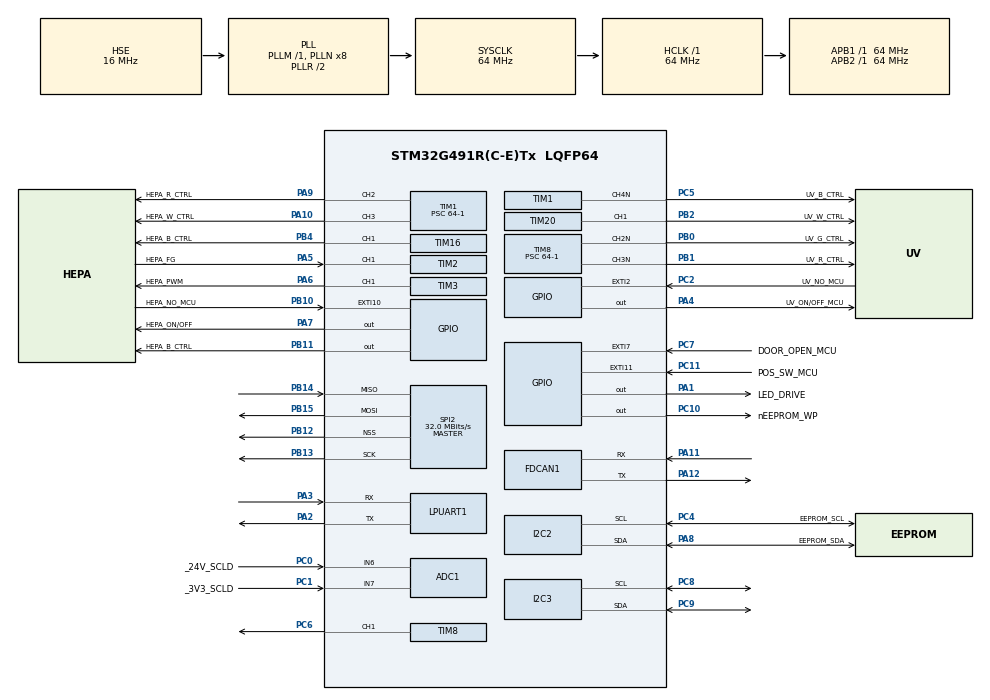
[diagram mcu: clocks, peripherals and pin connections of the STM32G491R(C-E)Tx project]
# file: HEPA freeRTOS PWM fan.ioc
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ADC1.Channel-0\#ChannelRegularConversion=ADC_CHANNEL_6
ADC1.NbrOfConversionFlag=1
ADC1.OffsetNumber-0\#ChannelRegularConversion=ADC_OFFSET_NONE
ADC1.Rank-0\#ChannelRegularConversion=1
ADC1.SamplingTime-0\#ChannelRegularConversion=ADC_SAMPLETIME_2CYCLES_5
ADC1.SingleDiff-0\#ChannelRegularConversion=ADC_DIFFERENTIAL_ENDED
ADC1.master=1
FDCAN1.CalculateBaudRateNominal=800000
FDCAN1.CalculateTimeBitNominal=1250
FDCAN1.CalculateTimeQuantumNominal=250.0
FREERTOS.Tasks01=Blink01,0,128,StartDefaultTask,Default,NULL,Dynamic,NULL,NULL;Blink02,-1,128,StartTask02,Default,NULL,Dynamic,NULL,NULL;UVInterval,0,128,StartUVIntervalTask,Default,NULL,Dynamic,NULL,NULL;HEPAfan,0,128,StartHEPAfanTask,Default,NULL,Dynamic,NULL,NULL
FREERTOS.configTOTAL_HEAP_SIZE=10000
FREERTOS.configUSE_NEWLIB_REENTRANT=1
I2C2.Timing=0x10707DBC
I2C3.Timing=0x10707DBC
Mcu.Family=STM32G4
Mcu.Name=STM32G491R(C-E)Tx
Mcu.Package=LQFP64
NVIC.EXTI15_10_IRQn=true\:5\:0\:false\:false\:true\:true\:true\:true\:true
NVIC.EXTI2_IRQn=true\:5\:0\:false\:false\:true\:true\:true\:true\:true
NVIC.EXTI9_5_IRQn=true\:5\:0\:false\:false\:true\:true\:true\:true\:true
NVIC.PriorityGroup=NVIC_PRIORITYGROUP_4
NVIC.TIM6_DAC_IRQn=true\:15\:0\:false\:false\:true\:false\:false\:true\:true
NVIC.TimeBase=TIM6_DAC_IRQn
NVIC.TimeBaseIP=TIM6
PA1.GPIO_Label=LED_DRIVE
PA1.Signal=GPIO_Output
PA10.GPIO_Label=HEPA_W_CTRL
PA10.Signal=S_TIM1_CH3
PA11.Mode=FDCAN_Activate
PA11.Signal=FDCAN1_RX
PA12.Mode=FDCAN_Activate
PA12.Signal=FDCAN1_TX
PA13.Signal=SYS_JTMS-SWDIO
PA14.Signal=SYS_JTCK-SWCLK
PA15.Signal=SYS_JTDI
PA2.Mode=Asynchronous
PA2.Signal=LPUART1_TX
PA3.Mode=Asynchronous
PA3.Signal=LPUART1_RX
PA4.GPIO_Label=UV_ON/OFF_MCU
PA4.Signal=GPIO_Output
PA5.GPIO_Label=HEPA_FG
PA5.Signal=S_TIM2_CH1
PA6.GPIO_Label=HEPA_PWM
PA6.Signal=S_TIM3_CH1
PA7.GPIO_Label=HEPA_ON/OFF
PA7.Signal=GPIO_Output
PA8.GPIO_Label=EEPROM_SDA
PA8.Mode=I2C
PA8.Signal=I2C2_SDA
PA9.GPIO_Label=HEPA_R_CTRL
PA9.Signal=S_TIM1_CH2
PB0.GPIO_Label=UV_G_CTRL
PB0.Mode=PWM Generation2 CH2N
PB0.Signal=TIM8_CH2N
PB1.GPIO_Label=UV_R_CTRL
PB1.Mode=PWM Generation3 CH3N
PB1.Signal=TIM8_CH3N
PB10.GPIO_Label=HEPA_NO_MCU
PB10.Signal=GPXTI10
PB11.GPIO_Label=HEPA_B_CTRL
PB11.Signal=GPIO_Output
PB12.Mode=NSS_Signal_Hard_Output
PB12.Signal=SPI2_NSS
PB13.Mode=Full_Duplex_Master
PB13.Signal=SPI2_SCK
PB14.Mode=Full_Duplex_Master
PB14.Signal=SPI2_MISO
PB15.Mode=Full_Duplex_Master
PB15.Signal=SPI2_MOSI
PB2.GPIO_Label=UV_W_CTRL
PB2.Mode=PWM Generation1 CH1
PB2.Signal=TIM20_CH1
PB3.Signal=SYS_JTDO-SWO
PB4.GPIO_Label=HEPA_B_CTRL
PB4.Signal=S_TIM16_CH1
PC0.GPIO_Label=_24V_SCLD
PC0.Mode=IN6-Differential
PC0.Signal=ADC1_IN6
PC1.GPIO_Label=_3V3_SCLD
PC1.Mode=IN6-Differential
PC1.Signal=ADC1_IN7
PC10.GPIO_Label=nEEPROM_WP
PC10.Signal=GPIO_Output
PC11.GPIO_Label=POS_SW_MCU
PC11.GPIO_ModeDefaultEXTI=GPIO_MODE_IT_RISING
PC11.Signal=GPXTI11
PC2.GPIO_Label=UV_NO_MCU
PC2.Signal=GPXTI2
PC4.GPIO_Label=EEPROM_SCL
PC4.Mode=I2C
PC4.Signal=I2C2_SCL
PC5.GPIO_Label=UV_B_CTRL
PC5.Mode=PWM Generation4 CH4N
PC5.Signal=TIM1_CH4N
PC6.Signal=S_TIM8_CH1
PC7.GPIO_Label=DOOR_OPEN_MCU
PC7.Signal=GPXTI7
PC8.Mode=I2C
PC8.Signal=I2C3_SCL
PC9.Mode=I2C
PC9.Signal=I2C3_SDA
PF0-OSC_IN.Mode=HSE-External-Oscillator
PF0-OSC_IN.Signal=RCC_OSC_IN
PF1-OSC_OUT.Mode=HSE-External-Oscillator
PF1-OSC_OUT.Signal=RCC_OSC_OUT
ProjectManager.HeapSize=0x200
ProjectManager.StackSize=0x400
ProjectManager.TargetToolchain=STM32CubeIDE
RCC.ADC12Freq_Value=64000000
RCC.ADC345Freq_Value=64000000
RCC.AHBFreq_Value=64000000
RCC.APB1Freq_Value=64000000
RCC.APB1TimFreq_Value=64000000
RCC.APB2Freq_Value=64000000
RCC.APB2TimFreq_Value=64000000
RCC.CortexFreq_Value=64000000
RCC.EXTERNAL_CLOCK_VALUE=12288000
RCC.HCLKFreq_Value=64000000
RCC.HSE_VALUE=16000000
RCC.HSI48_VALUE=48000000
RCC.HSI_VALUE=16000000
RCC.LSE_VALUE=32768
RCC.PLLSourceVirtual=RCC_PLLSOURCE_HSE
RCC.SYSCLKFreq_VALUE=64000000
RCC.SYSCLKSource=RCC_SYSCLKSOURCE_PLLCLK
RCC.USBFreq_Value=48000000
RCC.VCOOutputFreq_Value=128000000
SH.S_TIM16_CH1.0=TIM16_CH1,PWM Generation1 CH1
SH.S_TIM1_CH2.0=TIM1_CH2,PWM Generation2 CH2
SH.S_TIM1_CH3.0=TIM1_CH3,PWM Generation3 CH3
SH.S_TIM2_CH1.0=TIM2_CH1,Input_Capture1_from_TI1
SH.S_TIM3_CH1.0=TIM3_CH1,PWM Generation1 CH1
SH.S_TIM8_CH1.0=TIM8_CH1,PWM Generation1 CH1
SPI2.BaudRatePrescaler=SPI_BAUDRATEPRESCALER_2
SPI2.CalculateBaudRate=32.0 MBits/s
SPI2.Direction=SPI_DIRECTION_2LINES
SPI2.Mode=SPI_MODE_MASTER
SPI2.VirtualNSS=VM_NSSHARD
SPI2.VirtualType=VM_MASTER
TIM1.Channel-PWM\ Generation2\ CH2=TIM_CHANNEL_2
TIM1.Channel-PWM\ Generation3\ CH3=TIM_CHANNEL_3
TIM1.Channel-PWM\ Generation4\ CH4N=TIM_CHANNEL_4
TIM1.PeriodNoDither=40-1
TIM1.Prescaler=64-1
TIM16.Channel=TIM_CHANNEL_1
TIM16.PeriodNoDither=40-1
TIM16.Prescaler=64-1
TIM2.Channel-Input_Capture1_from_TI1=TIM_CHANNEL_1
TIM20.Channel-PWM\ Generation1\ CH1=TIM_CHANNEL_1
TIM20.PeriodNoDither=40-1
TIM20.Prescaler=64-1
TIM3.Channel-PWM\ Generation1\ CH1=TIM_CHANNEL_1
TIM8.Channel-PWM\ Generation1\ CH1=TIM_CHANNEL_1
TIM8.Channel-PWM\ Generation2\ CH2N=TIM_CHANNEL_2
TIM8.Channel-PWM\ Generation3\ CH3N=TIM_CHANNEL_3
TIM8.PeriodNoDither=40-1
TIM8.Prescaler=64-1
VP_FREERTOS_VS_CMSIS_V1.Mode=CMSIS_V1
VP_SYS_VS_DBSignals.Mode=DisableDeadBatterySignals
VP_SYS_VS_tim6.Mode=TIM6
VP_TIM16_VS_ClockSourceINT.Mode=Enable_Timer
VP_TIM2_VS_ClockSourceINT.Mode=Internal
VP_TIM3_VS_ClockSourceINT.Mode=Internal
board=custom

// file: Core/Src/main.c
/* USER CODE BEGIN Header */
/**
  ******************************************************************************
  * @file           : main.c
  * @brief          : Main program body
  ******************************************************************************
  * @attention
  *
  * Copyright (c) 2023 STMicroelectronics.
  * All rights reserved.
  *
  * This software is licensed under terms that can be found in the LICENSE file
  * in the root directory of this software component.
  * If no LICENSE file comes with this software, it is provided AS-IS.
  *
  ******************************************************************************
  */
/* USER CODE END Header */
#include "main.h"
#include "cmsis_os.h"
#include "can.h"
#include "EEPROM.h"
#include <math.h>
#include <string.h>
#include <stdio.h>
#include "enums.h"

ADC_HandleTypeDef hadc1;

FDCAN_HandleTypeDef hfdcan1;

I2C_HandleTypeDef hi2c2;
I2C_HandleTypeDef hi2c3;

UART_HandleTypeDef hlpuart1;

SPI_HandleTypeDef hspi2;

TIM_HandleTypeDef htim1;
TIM_HandleTypeDef htim2;
TIM_HandleTypeDef htim3;
TIM_HandleTypeDef htim8;
TIM_HandleTypeDef htim16;
TIM_HandleTypeDef htim20;

osThreadId Blink01Handle;
osThreadId CANHandle;
osThreadId UVIntervalHandle;
osThreadId HEPAfanHandle;

void SystemClock_Config(void);
static void MX_GPIO_Init(void);
static void MX_ADC1_Init(void);
static void MX_FDCAN1_Init(void);
static void MX_I2C2_Init(void);
static void MX_I2C3_Init(void);
static void MX_LPUART1_UART_Init(void);
static void MX_SPI2_Init(void);
static void MX_TIM2_Init(void);
static void MX_TIM3_Init(void);
static void MX_TIM1_Init(void);
static void MX_TIM8_Init(void);
static void MX_TIM16_Init(void);
static void MX_TIM20_Init(void);
void StartDefaultTask(void const * argument);
void StartCANTask(void const * argument);
void StartUVIntervalTask(void const * argument);
void StartHEPAfanTask(void const * argument);

/* USER CODE BEGIN PFP */
void door_open();
void reed_sw_open();

void UV_OFF();
void UV_ON();
void UV_idle_state_LED();
void UV_error_LED();
void UV_running_LED();
void UV_pulse();
void UV_all_LEDs_off();
void UV_confirmation_LED();

void HEPA_ON();
void HEPA_OFF();
void HEPA_run_LED();
void HEPA_idle_LED();
void HEPA_all_LEDs_off();

/* USER CODE END PFP */

/* USER CODE BEGIN 0 */
/* CAN Configuration */
uint8_t debug_str[32];
uint8_t RxData[8];
uint8_t TxData[8];
FDCAN_RxHeaderTypeDef RxHeader;
FDCAN_TxHeaderTypeDef TxHeader;
uint32_t EEPROM_CAN_Msg;

/* The tasks to be created. */
static void vHandlerTask( void *pvParameters );

/* Stores the handle of the task to which interrupt processing is deferred. */
static TaskHandle_t xTaskHandler = NULL;

/* USER CODE END 0 */

int main(void)
{

  /* MCU Configuration--------------------------------------------------------*/

  /* Reset of all peripherals, Initializes the Flash interface and the Systick. */
  HAL_Init();

  /* Configure the system clock */
  SystemClock_Config();

  /* Initialize all configured peripherals */
  MX_GPIO_Init();
  MX_ADC1_Init();
  MX_FDCAN1_Init();
  MX_I2C2_Init();
  MX_I2C3_Init();
  MX_LPUART1_UART_Init();
  MX_SPI2_Init();
  MX_TIM2_Init();
  MX_TIM3_Init();
  MX_TIM1_Init();
  MX_TIM8_Init();
  MX_TIM16_Init();
  MX_TIM20_Init();

  /* Create the thread(s) */
  /* definition and creation of Blink01 */
  osThreadDef(Blink01, StartDefaultTask, osPriorityNormal, 0, 128);
  Blink01Handle = osThreadCreate(osThread(Blink01), NULL);

  /* definition and creation of Blink02 */
  osThreadDef(CAN, StartCANTask, osPriorityNormal, 0, 128);
  CANHandle = osThreadCreate(osThread(CAN), NULL);

  /* definition and creation of UVInterval */
  osThreadDef(UVInterval, StartUVIntervalTask, osPriorityNormal, 0, 128);
  UVIntervalHandle = osThreadCreate(osThread(UVInterval), NULL);

  /* definition and creation of HEPAfan */
  osThreadDef(HEPAfan, StartHEPAfanTask, osPriorityNormal, 0, 128);
  HEPAfanHandle = osThreadCreate(osThread(HEPAfan), NULL);

  /* USER CODE BEGIN RTOS_THREADS */
  /* add threads, ... */
  /* Create the thread(s) */
  /* definition and creation of Blink01 */

  /* USER CODE END RTOS_THREADS */

  /* Start scheduler */
  osKernelStart();

  /* We should never get here as control is now taken by the scheduler */
  /* Infinite loop */
  while (1)
  {

  }
}

void SystemClock_Config(void)
{
  RCC_OscInitTypeDef RCC_OscInitStruct = {0};
  RCC_ClkInitTypeDef RCC_ClkInitStruct = {0};

  /** Configure the main internal regulator output voltage
  */
  HAL_PWREx_ControlVoltageScaling(PWR_REGULATOR_VOLTAGE_SCALE1);

  /** Initializes the RCC Oscillators according to the specified parameters
  * in the RCC_OscInitTypeDef structure.
  */
  RCC_OscInitStruct.OscillatorType = RCC_OSCILLATORTYPE_HSE;
  RCC_OscInitStruct.HSEState = RCC_HSE_ON;
  RCC_OscInitStruct.PLL.PLLState = RCC_PLL_ON;
  RCC_OscInitStruct.PLL.PLLSource = RCC_PLLSOURCE_HSE;
  RCC_OscInitStruct.PLL.PLLM = RCC_PLLM_DIV1;
  RCC_OscInitStruct.PLL.PLLN = 8;
  RCC_OscInitStruct.PLL.PLLP = RCC_PLLP_DIV2;
  RCC_OscInitStruct.PLL.PLLQ = RCC_PLLQ_DIV2;
  RCC_OscInitStruct.PLL.PLLR = RCC_PLLR_DIV2;
  if (HAL_RCC_OscConfig(&RCC_OscInitStruct) != HAL_OK)
  {
    Error_Handler();
  }

  /** Initializes the CPU, AHB and APB buses clocks
  */
  RCC_ClkInitStruct.ClockType = RCC_CLOCKTYPE_HCLK|RCC_CLOCKTYPE_SYSCLK
                              |RCC_CLOCKTYPE_PCLK1|RCC_CLOCKTYPE_PCLK2;
  RCC_ClkInitStruct.SYSCLKSource = RCC_SYSCLKSOURCE_PLLCLK;
  RCC_ClkInitStruct.AHBCLKDivider = RCC_SYSCLK_DIV1;
  RCC_ClkInitStruct.APB1CLKDivider = RCC_HCLK_DIV1;
  RCC_ClkInitStruct.APB2CLKDivider = RCC_HCLK_DIV1;

  if (HAL_RCC_ClockConfig(&RCC_ClkInitStruct, FLASH_LATENCY_2) != HAL_OK)
  {
    Error_Handler();
  }
}

static void MX_ADC1_Init(void)
{

  ADC_MultiModeTypeDef multimode = {0};
  ADC_ChannelConfTypeDef sConfig = {0};

  /** Common config
  */
  hadc1.Instance = ADC1;
  hadc1.Init.ClockPrescaler = ADC_CLOCK_SYNC_PCLK_DIV2;
  hadc1.Init.Resolution = ADC_RESOLUTION_12B;
  hadc1.Init.DataAlign = ADC_DATAALIGN_RIGHT;
  hadc1.Init.GainCompensation = 0;
  hadc1.Init.ScanConvMode = ADC_SCAN_DISABLE;
  hadc1.Init.EOCSelection = ADC_EOC_SINGLE_CONV;
  hadc1.Init.LowPowerAutoWait = DISABLE;
  hadc1.Init.ContinuousConvMode = DISABLE;
  hadc1.Init.NbrOfConversion = 1;
  hadc1.Init.DiscontinuousConvMode = DISABLE;
  hadc1.Init.ExternalTrigConv = ADC_SOFTWARE_START;
  hadc1.Init.ExternalTrigConvEdge = ADC_EXTERNALTRIGCONVEDGE_NONE;
  hadc1.Init.DMAContinuousRequests = DISABLE;
  hadc1.Init.Overrun = ADC_OVR_DATA_PRESERVED;
  hadc1.Init.OversamplingMode = DISABLE;
  if (HAL_ADC_Init(&hadc1) != HAL_OK)
  {
    Error_Handler();
  }

  /** Configure the ADC multi-mode
  */
  multimode.Mode = ADC_MODE_INDEPENDENT;
  if (HAL_ADCEx_MultiModeConfigChannel(&hadc1, &multimode) != HAL_OK)
  {
    Error_Handler();
  }

  /** Configure Regular Channel
  */
  sConfig.Channel = ADC_CHANNEL_6;
  sConfig.Rank = ADC_REGULAR_RANK_1;
  sConfig.SamplingTime = ADC_SAMPLETIME_2CYCLES_5;
  sConfig.SingleDiff = ADC_DIFFERENTIAL_ENDED;
  sConfig.OffsetNumber = ADC_OFFSET_NONE;
  sConfig.Offset = 0;
  if (HAL_ADC_ConfigChannel(&hadc1, &sConfig) != HAL_OK)
  {
    Error_Handler();
  }

}

static void MX_FDCAN1_Init(void)
{

  /* USER CODE BEGIN FDCAN1_Init 0 */
  /* AUX1 ID */
  TxHeader.Identifier = 0x23;
  TxHeader.IdType = FDCAN_EXTENDED_ID;
  TxHeader.TxFrameType = FDCAN_DATA_FRAME;
  TxHeader.DataLength = FDCAN_DLC_BYTES_8;
  TxHeader.ErrorStateIndicator = FDCAN_ESI_ACTIVE;
  TxHeader.BitRateSwitch = FDCAN_BRS_OFF;
  TxHeader.FDFormat = FDCAN_FD_CAN; // FDCAN_CLASSIC_CAN;
  TxHeader.TxEventFifoControl = FDCAN_NO_TX_EVENTS;
  TxHeader.MessageMarker = 0;

  /* AUX1 ID */
  RxHeader.Identifier = 0x23;
  RxHeader.IdType = FDCAN_EXTENDED_ID;
  RxHeader.RxFrameType = FDCAN_DATA_FRAME;
  RxHeader.DataLength = FDCAN_DLC_BYTES_8;
  RxHeader.ErrorStateIndicator = FDCAN_ESI_ACTIVE;
  RxHeader.BitRateSwitch = FDCAN_BRS_OFF;
  RxHeader.FDFormat = FDCAN_FD_CAN; // FDCAN_CLASSIC_CAN;
  /* USER CODE END FDCAN1_Init 0 */

  hfdcan1.Instance = FDCAN1;
  hfdcan1.Init.ClockDivider = FDCAN_CLOCK_DIV1;
  hfdcan1.Init.FrameFormat = FDCAN_FRAME_CLASSIC;
  hfdcan1.Init.Mode = FDCAN_MODE_NORMAL;
  hfdcan1.Init.AutoRetransmission = DISABLE;
  hfdcan1.Init.TransmitPause = DISABLE;
  hfdcan1.Init.ProtocolException = DISABLE;
  hfdcan1.Init.NominalPrescaler = 1;
  hfdcan1.Init.NominalSyncJumpWidth = 1;
  hfdcan1.Init.NominalTimeSeg1 = 110;
  hfdcan1.Init.NominalTimeSeg2 = 17;
  hfdcan1.Init.DataPrescaler = 1;
  hfdcan1.Init.DataSyncJumpWidth = 1;
  hfdcan1.Init.DataTimeSeg1 = 32;
  hfdcan1.Init.DataTimeSeg2 = 1;
  hfdcan1.Init.StdFiltersNbr = 0;
  hfdcan1.Init.ExtFiltersNbr = 0;
  hfdcan1.Init.TxFifoQueueMode = FDCAN_TX_FIFO_OPERATION;
  if (HAL_FDCAN_Init(&hfdcan1) != HAL_OK)
  {
    Error_Handler();
  }
  /* USER CODE BEGIN FDCAN1_Init 2 */
    if (HAL_FDCAN_Start(&hfdcan1) != HAL_OK)
  	{
  		Error_Handler();
  	}

  /* USER CODE END FDCAN1_Init 2 */

}

static void MX_I2C2_Init(void)
{

  hi2c2.Instance = I2C2;
  hi2c2.Init.Timing = 0x00602173;
  hi2c2.Init.OwnAddress1 = 0;
  hi2c2.Init.AddressingMode = I2C_ADDRESSINGMODE_7BIT;
  hi2c2.Init.DualAddressMode = I2C_DUALADDRESS_DISABLE;
  hi2c2.Init.OwnAddress2 = 0;
  hi2c2.Init.OwnAddress2Masks = I2C_OA2_NOMASK;
  hi2c2.Init.GeneralCallMode = I2C_GENERALCALL_DISABLE;
  hi2c2.Init.NoStretchMode = I2C_NOSTRETCH_DISABLE;
  if (HAL_I2C_Init(&hi2c2) != HAL_OK)
  {
    Error_Handler();
  }

  /** Configure Analogue filter
  */
  if (HAL_I2CEx_ConfigAnalogFilter(&hi2c2, I2C_ANALOGFILTER_ENABLE) != HAL_OK)
  {
    Error_Handler();
  }

  /** Configure Digital filter
  */
  if (HAL_I2CEx_ConfigDigitalFilter(&hi2c2, 0) != HAL_OK)
  {
    Error_Handler();
  }

}

static void MX_I2C3_Init(void)
{

  hi2c3.Instance = I2C3;
  hi2c3.Init.Timing = 0x10707DBC;
  hi2c3.Init.OwnAddress1 = 0;
  hi2c3.Init.AddressingMode = I2C_ADDRESSINGMODE_7BIT;
  hi2c3.Init.DualAddressMode = I2C_DUALADDRESS_DISABLE;
  hi2c3.Init.OwnAddress2 = 0;
  hi2c3.Init.OwnAddress2Masks = I2C_OA2_NOMASK;
  hi2c3.Init.GeneralCallMode = I2C_GENERALCALL_DISABLE;
  hi2c3.Init.NoStretchMode = I2C_NOSTRETCH_DISABLE;
  if (HAL_I2C_Init(&hi2c3) != HAL_OK)
  {
    Error_Handler();
  }

  /** Configure Analogue filter
  */
  if (HAL_I2CEx_ConfigAnalogFilter(&hi2c3, I2C_ANALOGFILTER_ENABLE) != HAL_OK)
  {
    Error_Handler();
  }

  /** Configure Digital filter
  */
  if (HAL_I2CEx_ConfigDigitalFilter(&hi2c3, 0) != HAL_OK)
  {
    Error_Handler();
  }

}

static void MX_LPUART1_UART_Init(void)
{

  hlpuart1.Instance = LPUART1;
  hlpuart1.Init.BaudRate = 209700;
  hlpuart1.Init.WordLength = UART_WORDLENGTH_8B;
  hlpuart1.Init.StopBits = UART_STOPBITS_1;
  hlpuart1.Init.Parity = UART_PARITY_NONE;
  hlpuart1.Init.Mode = UART_MODE_TX_RX;
  hlpuart1.Init.HwFlowCtl = UART_HWCONTROL_NONE;
  hlpuart1.Init.OneBitSampling = UART_ONE_BIT_SAMPLE_DISABLE;
  hlpuart1.Init.ClockPrescaler = UART_PRESCALER_DIV1;
  hlpuart1.AdvancedInit.AdvFeatureInit = UART_ADVFEATURE_NO_INIT;
  if (HAL_UART_Init(&hlpuart1) != HAL_OK)
  {
    Error_Handler();
  }
  if (HAL_UARTEx_SetTxFifoThreshold(&hlpuart1, UART_TXFIFO_THRESHOLD_1_8) != HAL_OK)
  {
    Error_Handler();
  }
  if (HAL_UARTEx_SetRxFifoThreshold(&hlpuart1, UART_RXFIFO_THRESHOLD_1_8) != HAL_OK)
  {
    Error_Handler();
  }
  if (HAL_UARTEx_DisableFifoMode(&hlpuart1) != HAL_OK)
  {
    Error_Handler();
  }

}

static void MX_SPI2_Init(void)
{

  /* SPI2 parameter configuration*/
  hspi2.Instance = SPI2;
  hspi2.Init.Mode = SPI_MODE_MASTER;
  hspi2.Init.Direction = SPI_DIRECTION_2LINES;
  hspi2.Init.DataSize = SPI_DATASIZE_8BIT;
  hspi2.Init.CLKPolarity = SPI_POLARITY_LOW;
  hspi2.Init.CLKPhase = SPI_PHASE_1EDGE;
  hspi2.Init.NSS = SPI_NSS_HARD_OUTPUT;
  hspi2.Init.BaudRatePrescaler = SPI_BAUDRATEPRESCALER_2;
  hspi2.Init.FirstBit = SPI_FIRSTBIT_MSB;
  hspi2.Init.TIMode = SPI_TIMODE_DISABLE;
  hspi2.Init.CRCCalculation = SPI_CRCCALCULATION_DISABLE;
  hspi2.Init.CRCPolynomial = 7;
  hspi2.Init.CRCLength = SPI_CRC_LENGTH_DATASIZE;
  hspi2.Init.NSSPMode = SPI_NSS_PULSE_ENABLE;
  if (HAL_SPI_Init(&hspi2) != HAL_OK)
  {
    Error_Handler();
  }

}

static void MX_TIM1_Init(void)
{

  TIM_MasterConfigTypeDef sMasterConfig = {0};
  TIM_OC_InitTypeDef sConfigOC = {0};
  TIM_BreakDeadTimeConfigTypeDef sBreakDeadTimeConfig = {0};

  htim1.Instance = TIM1;
  htim1.Init.Prescaler = 64-1;
  htim1.Init.CounterMode = TIM_COUNTERMODE_UP;
  htim1.Init.Period = 39;
  htim1.Init.ClockDivision = TIM_CLOCKDIVISION_DIV1;
  htim1.Init.RepetitionCounter = 0;
  htim1.Init.AutoReloadPreload = TIM_AUTORELOAD_PRELOAD_DISABLE;
  if (HAL_TIM_PWM_Init(&htim1) != HAL_OK)
  {
    Error_Handler();
  }
  sMasterConfig.MasterOutputTrigger = TIM_TRGO_RESET;
  sMasterConfig.MasterOutputTrigger2 = TIM_TRGO2_RESET;
  sMasterConfig.MasterSlaveMode = TIM_MASTERSLAVEMODE_DISABLE;
  if (HAL_TIMEx_MasterConfigSynchronization(&htim1, &sMasterConfig) != HAL_OK)
  {
    Error_Handler();
  }
  sConfigOC.OCMode = TIM_OCMODE_PWM1;
  sConfigOC.Pulse = 0;
  sConfigOC.OCPolarity = TIM_OCPOLARITY_HIGH;
  sConfigOC.OCNPolarity = TIM_OCNPOLARITY_HIGH;
  sConfigOC.OCFastMode = TIM_OCFAST_DISABLE;
  sConfigOC.OCIdleState = TIM_OCIDLESTATE_RESET;
  sConfigOC.OCNIdleState = TIM_OCNIDLESTATE_RESET;
  if (HAL_TIM_PWM_ConfigChannel(&htim1, &sConfigOC, TIM_CHANNEL_2) != HAL_OK)
  {
    Error_Handler();
  }
  if (HAL_TIM_PWM_ConfigChannel(&htim1, &sConfigOC, TIM_CHANNEL_3) != HAL_OK)
  {
    Error_Handler();
  }
  if (HAL_TIM_PWM_ConfigChannel(&htim1, &sConfigOC, TIM_CHANNEL_4) != HAL_OK)
  {
    Error_Handler();
  }
  sBreakDeadTimeConfig.OffStateRunMode = TIM_OSSR_DISABLE;
  sBreakDeadTimeConfig.OffStateIDLEMode = TIM_OSSI_DISABLE;
  sBreakDeadTimeConfig.LockLevel = TIM_LOCKLEVEL_OFF;
  sBreakDeadTimeConfig.DeadTime = 0;
  sBreakDeadTimeConfig.BreakState = TIM_BREAK_DISABLE;
  sBreakDeadTimeConfig.BreakPolarity = TIM_BREAKPOLARITY_HIGH;
  sBreakDeadTimeConfig.BreakFilter = 0;
  sBreakDeadTimeConfig.BreakAFMode = TIM_BREAK_AFMODE_INPUT;
  sBreakDeadTimeConfig.Break2State = TIM_BREAK2_DISABLE;
  sBreakDeadTimeConfig.Break2Polarity = TIM_BREAK2POLARITY_HIGH;
  sBreakDeadTimeConfig.Break2Filter = 0;
  sBreakDeadTimeConfig.Break2AFMode = TIM_BREAK_AFMODE_INPUT;
  sBreakDeadTimeConfig.AutomaticOutput = TIM_AUTOMATICOUTPUT_DISABLE;
  if (HAL_TIMEx_ConfigBreakDeadTime(&htim1, &sBreakDeadTimeConfig) != HAL_OK)
  {
    Error_Handler();
  }
  HAL_TIM_MspPostInit(&htim1);

}

static void MX_TIM2_Init(void)
{

  TIM_ClockConfigTypeDef sClockSourceConfig = {0};
  TIM_MasterConfigTypeDef sMasterConfig = {0};
  TIM_IC_InitTypeDef sConfigIC = {0};

  htim2.Instance = TIM2;
  htim2.Init.Prescaler = 0;
  htim2.Init.CounterMode = TIM_COUNTERMODE_UP;
  htim2.Init.Period = 4.294967295E9;
  htim2.Init.ClockDivision = TIM_CLOCKDIVISION_DIV1;
  htim2.Init.AutoReloadPreload = TIM_AUTORELOAD_PRELOAD_DISABLE;
  if (HAL_TIM_Base_Init(&htim2) != HAL_OK)
  {
    Error_Handler();
  }
  sClockSourceConfig.ClockSource = TIM_CLOCKSOURCE_INTERNAL;
  if (HAL_TIM_ConfigClockSource(&htim2, &sClockSourceConfig) != HAL_OK)
  {
    Error_Handler();
  }
  if (HAL_TIM_IC_Init(&htim2) != HAL_OK)
  {
    Error_Handler();
  }
  sMasterConfig.MasterOutputTrigger = TIM_TRGO_RESET;
  sMasterConfig.MasterSlaveMode = TIM_MASTERSLAVEMODE_DISABLE;
  if (HAL_TIMEx_MasterConfigSynchronization(&htim2, &sMasterConfig) != HAL_OK)
  {
    Error_Handler();
  }
  sConfigIC.ICPolarity = TIM_INPUTCHANNELPOLARITY_RISING;
  sConfigIC.ICSelection = TIM_ICSELECTION_DIRECTTI;
  sConfigIC.ICPrescaler = TIM_ICPSC_DIV1;
  sConfigIC.ICFilter = 0;
  if (HAL_TIM_IC_ConfigChannel(&htim2, &sConfigIC, TIM_CHANNEL_1) != HAL_OK)
  {
    Error_Handler();
  }

}

static void MX_TIM3_Init(void)
{

  TIM_ClockConfigTypeDef sClockSourceConfig = {0};
  TIM_MasterConfigTypeDef sMasterConfig = {0};
  TIM_OC_InitTypeDef sConfigOC = {0};

  htim3.Instance = TIM3;
  htim3.Init.Prescaler = 64-1;
  htim3.Init.CounterMode = TIM_COUNTERMODE_UP;
  htim3.Init.Period = 40-1;
  htim3.Init.ClockDivision = TIM_CLOCKDIVISION_DIV1;
  htim3.Init.AutoReloadPreload = TIM_AUTORELOAD_PRELOAD_DISABLE;
  if (HAL_TIM_Base_Init(&htim3) != HAL_OK)
  {
    Error_Handler();
  }
  sClockSourceConfig.ClockSource = TIM_CLOCKSOURCE_INTERNAL;
  if (HAL_TIM_ConfigClockSource(&htim3, &sClockSourceConfig) != HAL_OK)
  {
    Error_Handler();
  }
  if (HAL_TIM_PWM_Init(&htim3) != HAL_OK)
  {
    Error_Handler();
  }
  sMasterConfig.MasterOutputTrigger = TIM_TRGO_RESET;
  sMasterConfig.MasterSlaveMode = TIM_MASTERSLAVEMODE_DISABLE;
  if (HAL_TIMEx_MasterConfigSynchronization(&htim3, &sMasterConfig) != HAL_OK)
  {
    Error_Handler();
  }
  sConfigOC.OCMode = TIM_OCMODE_PWM1;
  sConfigOC.Pulse = 30;
  sConfigOC.OCPolarity = TIM_OCPOLARITY_HIGH;
  sConfigOC.OCFastMode = TIM_OCFAST_DISABLE;
  if (HAL_TIM_PWM_ConfigChannel(&htim3, &sConfigOC, TIM_CHANNEL_1) != HAL_OK)
  {
    Error_Handler();
  }
  HAL_TIM_MspPostInit(&htim3);

}

static void MX_TIM8_Init(void)
{

  TIM_MasterConfigTypeDef sMasterConfig = {0};
  TIM_OC_InitTypeDef sConfigOC = {0};
  TIM_BreakDeadTimeConfigTypeDef sBreakDeadTimeConfig = {0};

  htim8.Instance = TIM8;
  htim8.Init.Prescaler = 64-1;
  htim8.Init.CounterMode = TIM_COUNTERMODE_UP;
  htim8.Init.Period = 39;
  htim8.Init.ClockDivision = TIM_CLOCKDIVISION_DIV1;
  htim8.Init.RepetitionCounter = 0;
  htim8.Init.AutoReloadPreload = TIM_AUTORELOAD_PRELOAD_DISABLE;
  if (HAL_TIM_PWM_Init(&htim8) != HAL_OK)
  {
    Error_Handler();
  }
  sMasterConfig.MasterOutputTrigger = TIM_TRGO_RESET;
  sMasterConfig.MasterOutputTrigger2 = TIM_TRGO2_RESET;
  sMasterConfig.MasterSlaveMode = TIM_MASTERSLAVEMODE_DISABLE;
  if (HAL_TIMEx_MasterConfigSynchronization(&htim8, &sMasterConfig) != HAL_OK)
  {
    Error_Handler();
  }
  sConfigOC.OCMode = TIM_OCMODE_PWM1;
  sConfigOC.Pulse = 0;
  sConfigOC.OCPolarity = TIM_OCPOLARITY_HIGH;
  sConfigOC.OCNPolarity = TIM_OCNPOLARITY_HIGH;
  sConfigOC.OCFastMode = TIM_OCFAST_DISABLE;
  sConfigOC.OCIdleState = TIM_OCIDLESTATE_RESET;
  sConfigOC.OCNIdleState = TIM_OCNIDLESTATE_RESET;
  if (HAL_TIM_PWM_ConfigChannel(&htim8, &sConfigOC, TIM_CHANNEL_1) != HAL_OK)
  {
    Error_Handler();
  }
  if (HAL_TIM_PWM_ConfigChannel(&htim8, &sConfigOC, TIM_CHANNEL_2) != HAL_OK)
  {
    Error_Handler();
  }
  if (HAL_TIM_PWM_ConfigChannel(&htim8, &sConfigOC, TIM_CHANNEL_3) != HAL_OK)
  {
    Error_Handler();
  }
  sBreakDeadTimeConfig.OffStateRunMode = TIM_OSSR_DISABLE;
  sBreakDeadTimeConfig.OffStateIDLEMode = TIM_OSSI_DISABLE;
  sBreakDeadTimeConfig.LockLevel = TIM_LOCKLEVEL_OFF;
  sBreakDeadTimeConfig.DeadTime = 0;
  sBreakDeadTimeConfig.BreakState = TIM_BREAK_DISABLE;
  sBreakDeadTimeConfig.BreakPolarity = TIM_BREAKPOLARITY_HIGH;
  sBreakDeadTimeConfig.BreakFilter = 0;
  sBreakDeadTimeConfig.BreakAFMode = TIM_BREAK_AFMODE_INPUT;
  sBreakDeadTimeConfig.Break2State = TIM_BREAK2_DISABLE;
  sBreakDeadTimeConfig.Break2Polarity = TIM_BREAK2POLARITY_HIGH;
  sBreakDeadTimeConfig.Break2Filter = 0;
  sBreakDeadTimeConfig.Break2AFMode = TIM_BREAK_AFMODE_INPUT;
  sBreakDeadTimeConfig.AutomaticOutput = TIM_AUTOMATICOUTPUT_DISABLE;
  if (HAL_TIMEx_ConfigBreakDeadTime(&htim8, &sBreakDeadTimeConfig) != HAL_OK)
  {
    Error_Handler();
  }
  HAL_TIM_MspPostInit(&htim8);

}

static void MX_TIM16_Init(void)
{

  TIM_OC_InitTypeDef sConfigOC = {0};
  TIM_BreakDeadTimeConfigTypeDef sBreakDeadTimeConfig = {0};

  htim16.Instance = TIM16;
  htim16.Init.Prescaler = 64-1;
  htim16.Init.CounterMode = TIM_COUNTERMODE_UP;
  htim16.Init.Period = 39;
  htim16.Init.ClockDivision = TIM_CLOCKDIVISION_DIV1;
  htim16.Init.RepetitionCounter = 0;
  htim16.Init.AutoReloadPreload = TIM_AUTORELOAD_PRELOAD_DISABLE;
  if (HAL_TIM_Base_Init(&htim16) != HAL_OK)
  {
    Error_Handler();
  }
  if (HAL_TIM_PWM_Init(&htim16) != HAL_OK)
  {
    Error_Handler();
  }
  sConfigOC.OCMode = TIM_OCMODE_PWM1;
  sConfigOC.Pulse = 0;
  sConfigOC.OCPolarity = TIM_OCPOLARITY_HIGH;
  sConfigOC.OCNPolarity = TIM_OCNPOLARITY_HIGH;
  sConfigOC.OCFastMode = TIM_OCFAST_DISABLE;
  sConfigOC.OCIdleState = TIM_OCIDLESTATE_RESET;
  sConfigOC.OCNIdleState = TIM_OCNIDLESTATE_RESET;
  if (HAL_TIM_PWM_ConfigChannel(&htim16, &sConfigOC, TIM_CHANNEL_1) != HAL_OK)
  {
    Error_Handler();
  }
  sBreakDeadTimeConfig.OffStateRunMode = TIM_OSSR_DISABLE;
  sBreakDeadTimeConfig.OffStateIDLEMode = TIM_OSSI_DISABLE;
  sBreakDeadTimeConfig.LockLevel = TIM_LOCKLEVEL_OFF;
  sBreakDeadTimeConfig.DeadTime = 0;
  sBreakDeadTimeConfig.BreakState = TIM_BREAK_DISABLE;
  sBreakDeadTimeConfig.BreakPolarity = TIM_BREAKPOLARITY_HIGH;
  sBreakDeadTimeConfig.BreakFilter = 0;
  sBreakDeadTimeConfig.AutomaticOutput = TIM_AUTOMATICOUTPUT_DISABLE;
  if (HAL_TIMEx_ConfigBreakDeadTime(&htim16, &sBreakDeadTimeConfig) != HAL_OK)
  {
    Error_Handler();
  }
  HAL_TIM_MspPostInit(&htim16);

}

static void MX_TIM20_Init(void)
{

  TIM_MasterConfigTypeDef sMasterConfig = {0};
  TIM_OC_InitTypeDef sConfigOC = {0};
  TIM_BreakDeadTimeConfigTypeDef sBreakDeadTimeConfig = {0};

  htim20.Instance = TIM20;
  htim20.Init.Prescaler = 64-1;
  htim20.Init.CounterMode = TIM_COUNTERMODE_UP;
  htim20.Init.Period = 39;
  htim20.Init.ClockDivision = TIM_CLOCKDIVISION_DIV1;
  htim20.Init.RepetitionCounter = 0;
  htim20.Init.AutoReloadPreload = TIM_AUTORELOAD_PRELOAD_DISABLE;
  if (HAL_TIM_PWM_Init(&htim20) != HAL_OK)
  {
    Error_Handler();
  }
  sMasterConfig.MasterOutputTrigger = TIM_TRGO_RESET;
  sMasterConfig.MasterOutputTrigger2 = TIM_TRGO2_RESET;
  sMasterConfig.MasterSlaveMode = TIM_MASTERSLAVEMODE_DISABLE;
  if (HAL_TIMEx_MasterConfigSynchronization(&htim20, &sMasterConfig) != HAL_OK)
  {
    Error_Handler();
  }
  sConfigOC.OCMode = TIM_OCMODE_PWM1;
  sConfigOC.Pulse = 0;
  sConfigOC.OCPolarity = TIM_OCPOLARITY_HIGH;
  sConfigOC.OCNPolarity = TIM_OCNPOLARITY_HIGH;
  sConfigOC.OCFastMode = TIM_OCFAST_DISABLE;
  sConfigOC.OCIdleState = TIM_OCIDLESTATE_RESET;
  sConfigOC.OCNIdleState = TIM_OCNIDLESTATE_RESET;
  if (HAL_TIM_PWM_ConfigChannel(&htim20, &sConfigOC, TIM_CHANNEL_1) != HAL_OK)
  {
    Error_Handler();
  }
  sBreakDeadTimeConfig.OffStateRunMode = TIM_OSSR_DISABLE;
  sBreakDeadTimeConfig.OffStateIDLEMode = TIM_OSSI_DISABLE;
  sBreakDeadTimeConfig.LockLevel = TIM_LOCKLEVEL_OFF;
  sBreakDeadTimeConfig.DeadTime = 0;
  sBreakDeadTimeConfig.BreakState = TIM_BREAK_DISABLE;
  sBreakDeadTimeConfig.BreakPolarity = TIM_BREAKPOLARITY_HIGH;
  sBreakDeadTimeConfig.BreakFilter = 0;
  sBreakDeadTimeConfig.BreakAFMode = TIM_BREAK_AFMODE_INPUT;
  sBreakDeadTimeConfig.Break2State = TIM_BREAK2_DISABLE;
  sBreakDeadTimeConfig.Break2Polarity = TIM_BREAK2POLARITY_HIGH;
  sBreakDeadTimeConfig.Break2Filter = 0;
  sBreakDeadTimeConfig.Break2AFMode = TIM_BREAK_AFMODE_INPUT;
  sBreakDeadTimeConfig.AutomaticOutput = TIM_AUTOMATICOUTPUT_DISABLE;
  if (HAL_TIMEx_ConfigBreakDeadTime(&htim20, &sBreakDeadTimeConfig) != HAL_OK)
  {
    Error_Handler();
  }
  HAL_TIM_MspPostInit(&htim20);

}

static void MX_GPIO_Init(void)
{
  GPIO_InitTypeDef GPIO_InitStruct = {0};

  /* GPIO Ports Clock Enable */
  __HAL_RCC_GPIOF_CLK_ENABLE();
  __HAL_RCC_GPIOC_CLK_ENABLE();
  __HAL_RCC_GPIOA_CLK_ENABLE();
  __HAL_RCC_GPIOB_CLK_ENABLE();

  /*Configure GPIO pin Output Level */
  HAL_GPIO_WritePin(GPIOA, LED_DRIVE_Pin|UV_ON_OFF_MCU_Pin|HEPA_ON_OFF_Pin, GPIO_PIN_RESET);

  /*Configure GPIO pin Output Level */
  HAL_GPIO_WritePin(HEPA_B_CTRL_GPIO_Port, HEPA_B_CTRL_Pin, GPIO_PIN_RESET);

  /*Configure GPIO pin Output Level */
  HAL_GPIO_WritePin(nEEPROM_WP_GPIO_Port, nEEPROM_WP_Pin, GPIO_PIN_RESET);

  /*Configure GPIO pins : DOOR_OPEN_MCU_Pin POS_SW_MCU_Pin */
  GPIO_InitStruct.Pin = DOOR_OPEN_MCU_Pin|POS_SW_MCU_Pin;
  GPIO_InitStruct.Mode = GPIO_MODE_IT_RISING_FALLING;
  GPIO_InitStruct.Pull = GPIO_NOPULL;
  HAL_GPIO_Init(GPIOC, &GPIO_InitStruct);

  /*Configure GPIO pins : UV_NO_MCU_Pin  */
  GPIO_InitStruct.Pin = UV_NO_MCU_Pin;
  GPIO_InitStruct.Mode = GPIO_MODE_IT_RISING;
  GPIO_InitStruct.Pull = GPIO_NOPULL;
  HAL_GPIO_Init(GPIOC, &GPIO_InitStruct);

  /*Configure GPIO pins : LED_DRIVE_Pin UV_ON_OFF_MCU_Pin HEPA_ON_OFF_Pin */
  GPIO_InitStruct.Pin = LED_DRIVE_Pin|UV_ON_OFF_MCU_Pin|HEPA_ON_OFF_Pin;
  GPIO_InitStruct.Mode = GPIO_MODE_OUTPUT_PP;
  GPIO_InitStruct.Pull = GPIO_NOPULL;
  GPIO_InitStruct.Speed = GPIO_SPEED_FREQ_LOW;
  HAL_GPIO_Init(GPIOA, &GPIO_InitStruct);

  /*Configure GPIO pin : HEPA_NO_MCU_Pin */
  GPIO_InitStruct.Pin = HEPA_NO_MCU_Pin;
  GPIO_InitStruct.Mode = GPIO_MODE_IT_RISING;
  GPIO_InitStruct.Pull = GPIO_NOPULL;
  HAL_GPIO_Init(HEPA_NO_MCU_GPIO_Port, &GPIO_InitStruct);

  /*Configure GPIO pin : HEPA_B_CTRL_Pin */
  GPIO_InitStruct.Pin = HEPA_B_CTRL_Pin;
  GPIO_InitStruct.Mode = GPIO_MODE_OUTPUT_PP;
  GPIO_InitStruct.Pull = GPIO_NOPULL;
  GPIO_InitStruct.Speed = GPIO_SPEED_FREQ_LOW;
  HAL_GPIO_Init(HEPA_B_CTRL_GPIO_Port, &GPIO_InitStruct);

  /*Configure GPIO pin : nEEPROM_WP_Pin */
  GPIO_InitStruct.Pin = nEEPROM_WP_Pin;
  GPIO_InitStruct.Mode = GPIO_MODE_OUTPUT_PP;
  GPIO_InitStruct.Pull = GPIO_NOPULL;
  GPIO_InitStruct.Speed = GPIO_SPEED_FREQ_LOW;
  HAL_GPIO_Init(nEEPROM_WP_GPIO_Port, &GPIO_InitStruct);

  /* EXTI interrupt init*/
  HAL_NVIC_SetPriority(EXTI2_IRQn, 5, 0);
  HAL_NVIC_EnableIRQ(EXTI2_IRQn);

  HAL_NVIC_SetPriority(EXTI9_5_IRQn, 5, 0);
  HAL_NVIC_EnableIRQ(EXTI9_5_IRQn);

  HAL_NVIC_SetPriority(EXTI15_10_IRQn, 5, 0);
  HAL_NVIC_EnableIRQ(EXTI15_10_IRQn);

}

/* USER CODE BEGIN 4 */
uint16_t interrupt_type;
volatile uint16_t UV_IT_flag;
//uint32_t EEPROM_CAN_Msg;

void UV_OFF()
{
	HAL_GPIO_WritePin(UV_ON_OFF_MCU_GPIO_Port, UV_ON_OFF_MCU_Pin, GPIO_PIN_SET);
}

void UV_ON()
{
	/* Set UV interval duration */
	uint16_t UV_duration;
	UV_duration = 9000; //Number of 100ms intervals, e.g. 600 * 100ms = 900 000ms = 15min

	/* Check if door is open */
	if (HAL_GPIO_ReadPin(DOOR_OPEN_MCU_GPIO_Port, DOOR_OPEN_MCU_Pin))
	{
		door_open();
	}

	/* Check if reed sw is open */
	else if (HAL_GPIO_ReadPin(POS_SW_MCU_GPIO_Port, POS_SW_MCU_Pin))
	{
		reed_sw_open();
	}

	/* Turn on UV */
	else
	{
		HAL_GPIO_WritePin(UV_ON_OFF_MCU_GPIO_Port, UV_ON_OFF_MCU_Pin, GPIO_PIN_RESET);
		UV_running_LED();
		/* Check every 100ms that UV remains in ready mode */
		for(int i=0; i<=UV_duration; i++)
		{
			if (UV_IT_flag == UV_READY)
			{
				osDelay(100);
			}
			else
			{
				if (interrupt_type == DOOR_SW_INTERRUPT)
				{
					door_open();
					break;
				}

				else if (interrupt_type == POS_SW_INTERRUPT)
				{
					reed_sw_open();
					break;
				}
			}
		}
		/* Turn off after specified time interval interval */
		if (UV_IT_flag == UV_READY)
		{
		UV_OFF();
		UV_confirmation_LED();
		}
	}

}

void reed_sw_open()
{
	UV_OFF();
	UV_error_LED();
}

void UV_idle_state_LED()
{

	UV_all_LEDs_off();
	/* Set solid white LED color */
	TIM20->CCR1 = 40;
	/* Enable PWM output */
	HAL_TIM_PWM_Start(&htim20, TIM_CHANNEL_1);
}

void door_open()
{
	UV_OFF();

	/* LED blue pulse */
	UV_all_LEDs_off();

	HAL_TIM_PWM_Start(&htim1, TIM_CHANNEL_4);
	HAL_TIMEx_PWMN_Start(&htim1, TIM_CHANNEL_4);

	for (int i = 0; i<5; i++)
	{
		TIM1->CCR4 = 40;
		osDelay(500);
		TIM1->CCR4 = 0;
		osDelay(500);
	}
	UV_idle_state_LED();
}

void UV_error_LED()
{
	UV_all_LEDs_off();

	/* Set solid red LED color */
	TIM8->CCR3 = 20;
	HAL_TIM_PWM_Start(&htim8, TIM_CHANNEL_3);
	HAL_TIMEx_PWMN_Start(&htim8, TIM_CHANNEL_3);
}

void UV_running_LED()
{
	UV_all_LEDs_off();

	/* Set solid green LED color */
	TIM8->CCR2 = 0;
	// Enable PWM output
	HAL_TIM_PWM_Start(&htim8, TIM_CHANNEL_2);
	HAL_TIMEx_PWMN_Start(&htim8, TIM_CHANNEL_2);
}

void UV_pulse()
{
	UV_all_LEDs_off();

	/* Set pulsing green LED color */
	HAL_TIM_PWM_Start(&htim8, TIM_CHANNEL_2);
	HAL_TIMEx_PWMN_Start(&htim8, TIM_CHANNEL_2);

	for (int i = 0; i<5; i++)
	{
		TIM8->CCR2 = 40;
		osDelay(500);
		TIM8->CCR2 = 0;
		osDelay(500);
	}
	UV_idle_state_LED();
}

void UV_confirmation_LED()
{
	UV_all_LEDs_off();

	/* Set slow pulsing green LED color */
	HAL_TIM_PWM_Start(&htim8, TIM_CHANNEL_2);
	HAL_TIMEx_PWMN_Start(&htim8, TIM_CHANNEL_2);
	int count = 0;

	while (count < 5)
	{

		for (int i = 40; i >= 5; i--)
		{
		  TIM8->CCR2 = i;
		  HAL_Delay(50);
		}
		HAL_Delay(50);

		for (int i = 5; i <= 40; i++)
		{
		  TIM8->CCR2 = i;
		  HAL_Delay(50);
		}
		HAL_Delay(50);
		count++;
	}
	UV_idle_state_LED();
}

void UV_all_LEDs_off()
{
	HAL_TIM_PWM_Stop(&htim8, TIM_CHANNEL_2);
	HAL_TIMEx_PWMN_Stop(&htim8, TIM_CHANNEL_2);

	HAL_TIM_PWM_Stop(&htim8, TIM_CHANNEL_3);
	HAL_TIMEx_PWMN_Stop(&htim8, TIM_CHANNEL_3);

	HAL_TIM_PWM_Stop(&htim20, TIM_CHANNEL_1);

	HAL_TIM_PWM_Stop(&htim1, TIM_CHANNEL_4);
	HAL_TIMEx_PWMN_Stop(&htim1, TIM_CHANNEL_4);
}

void HEPA_ON()
{
	/* Set fan duty cycle */
	uint16_t fan_DC = 30; //DC% = CCR1/Period; Period=40 as configure under MX_TIM3_Init()
	TIM3->CCR1 = fan_DC;
	/*Start PWM */
	HAL_TIM_PWM_Start(&htim3, TIM_CHANNEL_1);
	/*Enable Power*/
	HAL_GPIO_WritePin(HEPA_ON_OFF_GPIO_Port, HEPA_ON_OFF_Pin, GPIO_PIN_SET);
	/*Set LED indicator*/
	HEPA_run_LED();
}

void HEPA_OFF()
{
	HAL_TIM_PWM_Stop(&htim3, TIM_CHANNEL_1);
	HAL_GPIO_WritePin(HEPA_ON_OFF_GPIO_Port, HEPA_ON_OFF_Pin, GPIO_PIN_RESET);
	HEPA_idle_LED();
}

void HEPA_run_LED()
{
	HEPA_all_LEDs_off();

	TIM8->CCR1 = 20;
	HAL_TIM_PWM_Start(&htim8, TIM_CHANNEL_1);
}

void HEPA_idle_LED()
{
	HEPA_all_LEDs_off();

	TIM1->CCR3 = 20;
	HAL_TIM_PWM_Start(&htim1, TIM_CHANNEL_3);
}

void HEPA_all_LEDs_off()
{
	HAL_TIM_PWM_Stop(&htim8, TIM_CHANNEL_1);
	HAL_TIM_PWM_Stop(&htim1, TIM_CHANNEL_3);
}

void HAL_GPIO_EXTI_Callback(uint16_t GPIO_Pin)
{
/* The xHigherPriorityTaskWoken parameter must be initialized to pdFALSE */
	BaseType_t xHigherPriorityTaskWoken;
	xHigherPriorityTaskWoken = pdFALSE;

	/* Detect the source of interrupt and pass it to the correct RTOS thread */
	 if(GPIO_Pin == UV_NO_MCU_Pin)
	 {
		 interrupt_type = UV_PUSHBUTTON_INTERRUPT;
		 if (UV_IT_flag == UV_NOT_READY)
		 {
			 UV_IT_flag = UV_READY;
		 }
		 else UV_IT_flag = UV_NOT_READY;
		 /* Send the notification directly to the UVInterval thread */
		 vTaskNotifyGiveFromISR(UVIntervalHandle, &xHigherPriorityTaskWoken);
		 portYIELD_FROM_ISR(xHigherPriorityTaskWoken);
	 }

	 else if (GPIO_Pin == DOOR_OPEN_MCU_Pin)
	 {
		 interrupt_type = DOOR_SW_INTERRUPT;
		 UV_IT_flag = UV_NOT_READY;
		 /* Send the notification directly to the UVInterval thread */
		 vTaskNotifyGiveFromISR(UVIntervalHandle, &xHigherPriorityTaskWoken);
		 portYIELD_FROM_ISR(xHigherPriorityTaskWoken);
	 }

	 else if (GPIO_Pin == POS_SW_MCU_Pin)
	 {
		 interrupt_type = POS_SW_INTERRUPT;
		 UV_IT_flag = UV_NOT_READY;
		 /* Send the notification directly to the UVInterval thread */
		 vTaskNotifyGiveFromISR(UVIntervalHandle, &xHigherPriorityTaskWoken);
		 portYIELD_FROM_ISR(xHigherPriorityTaskWoken);
	 }

	 else if (GPIO_Pin == HEPA_NO_MCU_Pin)
	 {
		 interrupt_type = HEPA_FAN_INTERRUPT;
		 /* Send the notification directly to the HEPA thread */
		 vTaskNotifyGiveFromISR(HEPAfanHandle, &xHigherPriorityTaskWoken);
		 portYIELD_FROM_ISR(xHigherPriorityTaskWoken);
	 }
}

/* USER CODE END 4 */

void StartDefaultTask(void const * argument)
{
  /* USER CODE BEGIN 5 */

  /* Infinite loop */
  for(;;)
  {
	  HAL_GPIO_TogglePin(GPIOA, GPIO_PIN_1);
	  osDelay(500);
  }
  /* USER CODE END 5 */
}

void StartCANTask(void const * argument)
{
  /* USER CODE BEGIN StartTask02 */
  EEPROM_CAN_Msg = NO_EEPROM_TEST;
  uint8_t dataWrite[8];
  uint8_t datar1[100];

  /* Infinite loop */
  for(;;)
  {
	  /* Code block used for hardware testing purposes:
	   * When CAN message 0x00 is received, the write/read EEPROM test sequence is activated */
	  if (EEPROM_CAN_Msg == EEPROM_TEST)
	  	 	  {
	  	 		  for (int i = 0; i < 8; i++)
	  	 		  {
	  	 			  dataWrite[i] = (uint8_t)(rand() % 20);
	  	 		  }
	  	 		  /* Write EEPROM */
	  	 		  send_msg(dataWrite, 8);
	  	 		  EEPROM_Write(0, 0, dataWrite, sizeof(dataWrite));

	  	 		  /* Read EEPROM */
	  	 		  EEPROM_Read(0, 0, datar1, 8);
	  	 		  send_msg(datar1, 8);

	  	 		  EEPROM_CAN_Msg = NO_EEPROM_TEST;

	  	 		  /* Erase EEPROM */
	  	 		  for (uint8_t i=0; i<251; i++)
	  	 		  {
	  	 			  EEPROM_PageErase (i);
	  	 		  }
	  	 	  }

	  //Run CAN test;
	  test_can_bus();
	  //osDelay(600);
  }
  /* USER CODE END StartTask02 */
}

void StartUVIntervalTask(void const * argument)
{
  /* USER CODE BEGIN StartUVIntervalTask */
  uint32_t ulNotifyValue;
  UV_OFF();
  UV_idle_state_LED();

  /* Infinite loop */
  for(;;)
  {
    ulNotifyValue = ulTaskNotifyTake(pdTRUE, 0xFFFFFFFF);
    if(ulNotifyValue != 0)
    {
    	if (interrupt_type == DOOR_SW_INTERRUPT)
    	{
    		if(HAL_GPIO_ReadPin (DOOR_OPEN_MCU_GPIO_Port, DOOR_OPEN_MCU_Pin))
			{
    			UV_IT_flag = UV_NOT_READY;
    			osDelay(10);
				door_open();
			}
    		else
    		{
    			osDelay(10);
    			UV_idle_state_LED();
    		}
    	}

    	else if (interrupt_type == POS_SW_INTERRUPT)
    	{
    		if(HAL_GPIO_ReadPin (POS_SW_MCU_GPIO_Port, POS_SW_MCU_Pin))
			{
    			UV_IT_flag = UV_NOT_READY;
    			osDelay(10);
				reed_sw_open();
			}
    		else
    		{
    			osDelay(10);
    			UV_idle_state_LED();
    		}
    	}

    	else if(interrupt_type == UV_PUSHBUTTON_INTERRUPT)
		{
    		if(HAL_GPIO_ReadPin (UV_ON_OFF_MCU_GPIO_Port, UV_ON_OFF_MCU_Pin))
    		{
    			UV_ON();
    		}
    		else
    		{
    			UV_IT_flag = UV_NOT_READY;
    			osDelay(10);
    			UV_OFF();
    			UV_pulse();
    		}
		}
    }
    //osDelay(1);
  }
  /* USER CODE END StartUVIntervalTask */
}

void StartHEPAfanTask(void const * argument)
{
  /* USER CODE BEGIN StartUVIntervalTask */
  uint32_t ulNotifyValue;
  HEPA_OFF();

  /* Infinite loop */
  for(;;)
  {
    ulNotifyValue = ulTaskNotifyTake(pdTRUE, 0xFFFFFFFF);
    if(ulNotifyValue != 0)
    {
    	if (HAL_GPIO_ReadPin(HEPA_ON_OFF_GPIO_Port, HEPA_ON_OFF_Pin))
    	{
    		HEPA_OFF();
		}
    	else
    	{
    		HEPA_ON();
    	}
    }
    //osDelay(1);
  }
  /* USER CODE END StartUVIntervalTask */
}

void HAL_TIM_PeriodElapsedCallback(TIM_HandleTypeDef *htim)
{
  if (htim->Instance == TIM6) {
    HAL_IncTick();
  }
}

void Error_Handler(void)
{
  __disable_irq();
  while (1)
  {
  }
}
